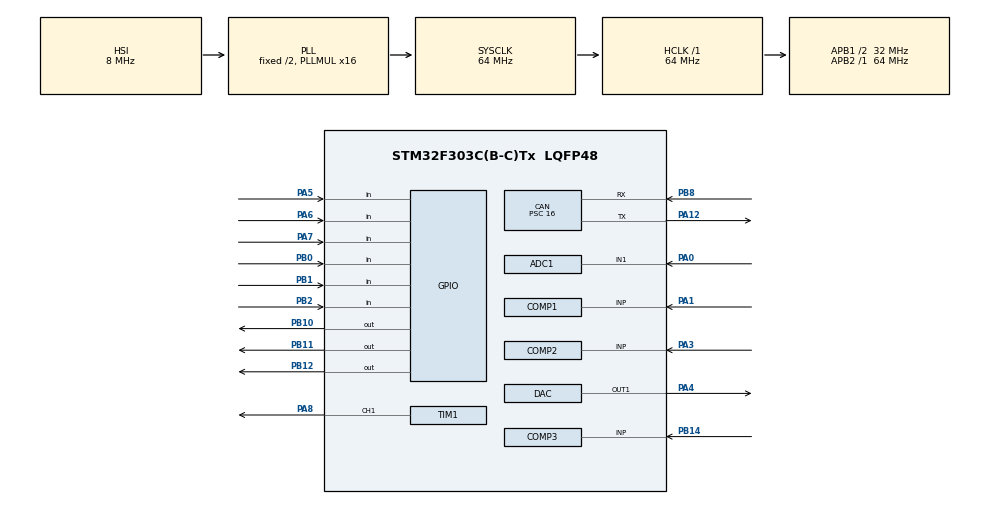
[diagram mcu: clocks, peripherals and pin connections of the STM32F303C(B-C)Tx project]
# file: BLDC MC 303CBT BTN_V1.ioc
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ADC1.Channel-0\#ChannelRegularConversion=ADC_CHANNEL_1
ADC1.ClockPrescaler=ADC_CLOCK_ASYNC_DIV1
ADC1.ContinuousConvMode=DISABLE
ADC1.DMAContinuousRequests=DISABLE
ADC1.DataAlign=ADC_DATAALIGN_RIGHT
ADC1.DiscontinuousConvMode=DISABLE
ADC1.EOCSelection=ADC_EOC_SINGLE_CONV
ADC1.EnableAnalogWatchDog1=false
ADC1.EnableAnalogWatchDog2=false
ADC1.EnableAnalogWatchDog3=false
ADC1.EnableInjectedConversion=ENABLE
ADC1.EnableRegularConversion=ENABLE
ADC1.ExternalTrigConv=ADC_EXTERNALTRIGCONV_T4_CC4
ADC1.ExternalTrigConvEdge=ADC_EXTERNALTRIGCONVEDGE_FALLING
ADC1.InjNumberOfConversion=0
ADC1.LowPowerAutoWait=DISABLE
ADC1.NbrOfConversion=1
ADC1.NbrOfConversionFlag=1
ADC1.Offset-0\#ChannelRegularConversion=0
ADC1.OffsetNumber-0\#ChannelRegularConversion=ADC_OFFSET_NONE
ADC1.Overrun=ADC_OVR_DATA_OVERWRITTEN
ADC1.Rank-0\#ChannelRegularConversion=1
ADC1.Resolution=ADC_RESOLUTION_12B
ADC1.SamplingTime-0\#ChannelRegularConversion=ADC_SAMPLETIME_1CYCLE_5
ADC1.ScanConvMode=ADC_SCAN_DISABLE
ADC1.master=1
CAN.BS1=CAN_BS1_2TQ
CAN.BS2=CAN_BS2_2TQ
CAN.CalculateTimeBit=2500
CAN.CalculateTimeQuantum=500.0
CAN.Prescaler=16
CAN.SJW=CAN_SJW_2TQ
COMP1.BlankingSrce=COMP_BLANKINGSRCE_TIM1OC5
COMP1.InvertingInput=COMP_INVERTINGINPUT_DAC1_CH1
COMP1.TriggerMode=COMP_TRIGGERMODE_IT_RISING_FALLING
COMP2.BlankingSrce=COMP_BLANKINGSRCE_TIM1OC5
COMP2.InvertingInput=COMP_INVERTINGINPUT_DAC1_CH1
COMP2.TriggerMode=COMP_TRIGGERMODE_IT_RISING_FALLING
COMP3.BlankingSrce=COMP_BLANKINGSRCE_TIM1OC5
COMP3.InvertingInput=COMP_INVERTINGINPUT_DAC1_CH1
COMP3.TriggerMode=COMP_TRIGGERMODE_IT_RISING_FALLING
Mcu.Family=STM32F3
Mcu.Name=STM32F303C(B-C)Tx
Mcu.Package=LQFP48
NVIC.ADC1_2_IRQn=true\:0\:0\:false\:false\:true
NVIC.COMP1_2_3_IRQn=true\:0\:0\:false\:false\:true
NVIC.PriorityGroup=NVIC_PRIORITYGROUP_4
NVIC.TIM1_CC_IRQn=true\:0\:0\:false\:false\:true
NVIC.TIM3_IRQn=true\:0\:0\:false\:false\:true
NVIC.USB_LP_CAN_RX0_IRQn=true\:0\:0\:false\:false\:true
PA0.Mode=IN1-Single-Ended
PA0.Signal=ADC1_IN1
PA1.Mode=INP
PA1.Signal=COMP1_INP
PA12.Mode=Master
PA12.Signal=CAN_TX
PA13.Mode=Trace_Asynchronous_SW
PA13.Signal=SYS_JTMS-SWDIO
PA14.Mode=Trace_Asynchronous_SW
PA14.Signal=SYS_JTCK-SWCLK
PA3.Mode=INP
PA3.Signal=COMP2_INP
PA4.Signal=COMP_DAC1_group
PA5.Signal=GPIO_Input
PA6.Signal=GPIO_Input
PA7.Signal=GPIO_Input
PA8.GPIO_PuPd=GPIO_PULLDOWN
PA8.GPIO_Speed=GPIO_SPEED_FREQ_MEDIUM
PA8.Signal=S_TIM1_CH1
PB0.Signal=GPIO_Input
PB1.Signal=GPIO_Input
PB10.Signal=GPIO_Output
PB11.Signal=GPIO_Output
PB12.Signal=GPIO_Output
PB14.Mode=INP
PB14.Signal=COMP3_INP
PB2.Signal=GPIO_Input
PB3.Mode=Trace_Asynchronous_SW
PB3.Signal=SYS_JTDO-TRACESWO
PB8.Mode=Master
PB8.Signal=CAN_RX
ProjectManager.HeapSize=0x200
ProjectManager.StackSize=0x400
ProjectManager.TargetToolchain=TrueSTUDIO
RCC.AHBFreq_Value=64000000
RCC.APB1CLKDivider=RCC_HCLK_DIV2
RCC.APB1Freq_Value=32000000
RCC.APB1TimFreq_Value=64000000
RCC.APB2Freq_Value=64000000
RCC.APB2TimFreq_Value=64000000
RCC.CortexFreq_Value=64000000
RCC.HCLKFreq_Value=64000000
RCC.HSE_VALUE=8000000
RCC.HSI_VALUE=8000000
RCC.I2c1ClockSelection=RCC_I2C1CLKSOURCE_SYSCLK
RCC.LSE_VALUE=32768
RCC.PLLMUL=RCC_PLL_MUL16
RCC.SYSCLKFreq_VALUE=64000000
RCC.SYSCLKSourceVirtual=RCC_SYSCLKSOURCE_PLLCLK
RCC.TIM1Selection=RCC_TIM1CLK_PLLCLK
RCC.USBFreq_Value=64000000
SH.COMP_DAC1_group.0=DAC_OUT1,DAC_OUT1
SH.S_TIM1_CH1.0=TIM1_CH1,PWM Generation1 CH1
TIM1.AutomaticOutput=TIM_AUTOMATICOUTPUT_DISABLE
TIM1.Break2State=TIM_BREAK2_DISABLE
TIM1.BreakState=TIM_BREAK_DISABLE
TIM1.Channel-PWM\ Generation5\ No\ Output=TIM_CHANNEL_5
TIM1.CounterMode=TIM_COUNTERMODE_CENTERALIGNED3
TIM1.LockLevel=TIM_LOCKLEVEL_OFF
TIM1.OCFastMode_PWM-PWM\ Generation1\ CH1=TIM_OCFAST_ENABLE
TIM1.OCIdleState_1=TIM_OCIDLESTATE_SET
TIM1.OCIdleState_5=TIM_OCIDLESTATE_SET
TIM1.OffStateIDLEMode=TIM_OSSI_DISABLE
TIM1.OffStateRunMode=TIM_OSSR_DISABLE
TIM1.Period=1600
TIM1.Prescaler=1
TIM1.Pulse-PWM\ Generation1\ CH1=100
TIM1.Pulse-PWM\ Generation5\ No\ Output=120
TIM3.Channel-Output\ Compare2\ No\ Output=TIM_CHANNEL_2
TIM3.Period=65000
TIM3.Prescaler=1
TIM3.Pulse-Output\ Compare1\ No\ Output=500
TIM3.Pulse-Output\ Compare2\ No\ Output=500
VP_COMP1_VS_DAC1OUT1.Mode=INM_DACOUT1
VP_COMP2_VS_DAC1OUT1.Mode=INM_DACOUT1
VP_COMP3_VS_DAC1OUT1.Mode=INM_DACOUT1
VP_TIM1_VS_no_output5.Mode=PWM Generation5 No Output
VP_TIM3_VS_no_output1.Mode=Output Compare1 No Output
VP_TIM3_VS_no_output2.Mode=Output Compare2 No Output
board=BLDC MC 303CBT BTN_V1

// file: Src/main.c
/**
  ******************************************************************************
  * File Name          : main.c
  * Description        : Main program body
  ******************************************************************************
  *
  * COPYRIGHT(c) 2017 STMicroelectronics
  *
  * Redistribution and use in source and binary forms, with or without modification,
  * are permitted provided that the following conditions are met:
  *   1. Redistributions of source code must retain the above copyright notice,
  *      this list of conditions and the following disclaimer.
  *   2. Redistributions in binary form must reproduce the above copyright notice,
  *      this list of conditions and the following disclaimer in the documentation
  *      and/or other materials provided with the distribution.
  *   3. Neither the name of STMicroelectronics nor the names of its contributors
  *      may be used to endorse or promote products derived from this software
  *      without specific prior written permission.
  *
  * THIS SOFTWARE IS PROVIDED BY THE COPYRIGHT HOLDERS AND CONTRIBUTORS "AS IS"
  * AND ANY EXPRESS OR IMPLIED WARRANTIES, INCLUDING, BUT NOT LIMITED TO, THE
  * IMPLIED WARRANTIES OF MERCHANTABILITY AND FITNESS FOR A PARTICULAR PURPOSE ARE
  * DISCLAIMED. IN NO EVENT SHALL THE COPYRIGHT HOLDER OR CONTRIBUTORS BE LIABLE
  * FOR ANY DIRECT, INDIRECT, INCIDENTAL, SPECIAL, EXEMPLARY, OR CONSEQUENTIAL
  * DAMAGES (INCLUDING, BUT NOT LIMITED TO, PROCUREMENT OF SUBSTITUTE GOODS OR
  * SERVICES; LOSS OF USE, DATA, OR PROFITS; OR BUSINESS INTERRUPTION) HOWEVER
  * CAUSED AND ON ANY THEORY OF LIABILITY, WHETHER IN CONTRACT, STRICT LIABILITY,
  * OR TORT (INCLUDING NEGLIGENCE OR OTHERWISE) ARISING IN ANY WAY OUT OF THE USE
  * OF THIS SOFTWARE, EVEN IF ADVISED OF THE POSSIBILITY OF SUCH DAMAGE.
  *
  ******************************************************************************
  */
#include "main.h"
#include "stm32f3xx_hal.h"

/* USER CODE BEGIN Includes */
#define NEXT 9
#define STEP_0 0
#define STEP_1 1
#define STEP_2 2
#define STEP_3 3
#define STEP_4 4
#define STEP_5 5
#define	I2CRECEIVEDBUFFERSIZE 8
#define COMPDELAY for(uint32_t i = 0; i < 250; i++) //170 with 3S PWM low
#define CANMOTORADDRESS 0x231
/* USER CODE END Includes */

ADC_HandleTypeDef hadc1;

CAN_HandleTypeDef hcan;

COMP_HandleTypeDef hcomp1;
COMP_HandleTypeDef hcomp2;
COMP_HandleTypeDef hcomp3;

DAC_HandleTypeDef hdac;

TIM_HandleTypeDef htim1;
TIM_HandleTypeDef htim3;

/* USER CODE BEGIN PV */
/* Private variables ---------------------------------------------------------*/
volatile int commutationTimerCounter = 2000;
volatile uint16_t commutationTimerCounterArray[6] = { 20000, 20000, 2000, 20000, 20000, 20000 };
volatile uint8_t commutationStepCounter;
volatile uint8_t waitForCommutation = 1;
volatile uint16_t myADCvalue;
volatile uint16_t commutationTimerCounterAverage;
volatile uint16_t counterTIM3Values;
volatile int16_t commutationTimerOffset;

volatile uint8_t rx_bytes_counter;
volatile uint8_t command_ready;
volatile uint8_t data_ready;
volatile uint8_t rx_bytes[10];
volatile uint8_t receiveBuffer[I2CRECEIVEDBUFFERSIZE];
volatile int16_t newPWM = 100;
volatile int16_t setPWM = 100;
volatile int16_t compWindowOffset = 300; //this opens a comparator window to block overshooting signals from triggering (adjust to Vbat)
volatile uint16_t oc5Value = 128;  //preset offset-value (for fine tuning) of the DAC voltage output as the reference voltage for the compartors (about 0V or Vbat/2)
volatile uint8_t pwmState = 0; //indicates whether a zero crossing (pwm low) or a Vbat/2 crossing (pwm high) will be detected; 0 = PWM low detection, 1 = PWM high detection
volatile uint8_t bTransferRequest = 0;
volatile uint8_t motorGotStarted = 0;

static CanRxMsgTypeDef myRxMessage;

TIM_OC_InitTypeDef sConfigOC;
GPIO_InitTypeDef GPIO_InitStructCom;

void commutationPattern(uint8_t step);
void commutateNow_0(void);
void commutateNow_1(void);
void commutateNow_2(void);
void commutateNow_3(void);
void commutateNow_4(void);
void commutateNow_5(void);
void startMotor(void);

/* USER CODE END PV */

void SystemClock_Config(void);
void Error_Handler(void);
static void MX_GPIO_Init(void);
static void MX_ADC1_Init(void);
static void MX_COMP1_Init(void);
static void MX_COMP2_Init(void);
static void MX_COMP3_Init(void);
static void MX_DAC_Init(void);
static void MX_TIM1_Init(void);
static void MX_TIM3_Init(void);
static void MX_CAN_Init(void);

void HAL_TIM_MspPostInit(TIM_HandleTypeDef *htim);

/* USER CODE BEGIN PFP */
/* Private function prototypes -----------------------------------------------*/
void commutationPattern(uint8_t step) {
	//too fast changes of the speed / pwm setting can cause out of sync. so allow only max pwm steps per cycle
//	if (newPWM < (setPWM - 150)) { //used to be 2
//		setPWM -= 50;
//		TIM1->CCR1 = setPWM;
//		TIM1->CCR5 = setPWM + compWindowOffset;
//	} else if (newPWM > (setPWM + 150)) {
//		setPWM += 50;
//		TIM1->CCR1 = setPWM;
//		TIM1->CCR5 = setPWM + compWindowOffset;
//	} else {
//		setPWM = newPWM;
//		TIM1->CCR1 = setPWM;
//		TIM1->CCR5 = setPWM + compWindowOffset;
//	}
	//waitForCommutation means that a comparator event has been detected the commutation can happen after the 30deg delay (timer 3)
	if (step == NEXT && waitForCommutation == 1) {
		if (commutationStepCounter < STEP_5)
			commutationStepCounter++;
		else
			commutationStepCounter = STEP_0;

		switch (commutationStepCounter) {
		case STEP_0:
			commutateNow_0();
			break;
		case STEP_1:
			commutateNow_1();
			break;
		case STEP_2:
			commutateNow_2();
			break;
		case STEP_3:
			commutateNow_3();
			break;
		case STEP_4:
			commutateNow_4();
			break;
		case STEP_5:
			commutateNow_5();
			break;
		}
	} else {
		waitForCommutation = 0;
		switch (step) {
		case STEP_0:
			commutateNow_0();
			break;
		case STEP_1:
			commutateNow_1();
			break;
		case STEP_2:
			commutateNow_2();
			break;
		case STEP_3:
			commutateNow_3();
			break;
		case STEP_4:
			commutateNow_4();
			break;
		case STEP_5:
			commutateNow_5();
			break;
		}
	}
}

void commutateNow_0() {
	HAL_GPIO_WritePin(GPIOB, GPIO_PIN_11, GPIO_PIN_RESET); //set PB11 to 0 to not inhibit phase B; float
	GPIO_InitStructCom.Pin = GPIO_PIN_2;			//set PB2 to output to allow GND on phase C
	GPIO_InitStructCom.Mode = GPIO_MODE_OUTPUT_PP;
	GPIO_InitStructCom.Pull = GPIO_PULLDOWN;
	GPIO_InitStructCom.Speed = GPIO_SPEED_FREQ_LOW;
	HAL_GPIO_Init(GPIOB, &GPIO_InitStructCom);
	HAL_GPIO_WritePin(GPIOB, GPIO_PIN_2, GPIO_PIN_RESET); //set PB2 to 0 to set phase C to GND
	HAL_GPIO_WritePin(GPIOB, GPIO_PIN_12, GPIO_PIN_SET); //set PB12 to 1 to inhibit phase C
	COMPDELAY
	;
	waitForCommutation = 0;
	HAL_COMP_Start_IT(&hcomp2);
}

void commutateNow_1() {
	HAL_GPIO_WritePin(GPIOB, GPIO_PIN_10, GPIO_PIN_RESET); //set PB10 to 0 to not inhibit phase A; float
	GPIO_InitStructCom.Pin = GPIO_PIN_1;			//set PB1 to input to allow PWM on phase B
	GPIO_InitStructCom.Mode = GPIO_MODE_INPUT;
	GPIO_InitStructCom.Pull = GPIO_NOPULL;
	HAL_GPIO_Init(GPIOB, &GPIO_InitStructCom);
	HAL_GPIO_WritePin(GPIOB, GPIO_PIN_11, GPIO_PIN_SET); //set PB11 to 1 to inhibit phase B
	COMPDELAY
	;
	waitForCommutation = 0;
	HAL_COMP_Start_IT(&hcomp1);
}

void commutateNow_2() {
	GPIO_InitStructCom.Pin = GPIO_PIN_0;			//set PB0 to output to allow GND on phase A
	GPIO_InitStructCom.Mode = GPIO_MODE_OUTPUT_PP;
	GPIO_InitStructCom.Pull = GPIO_PULLDOWN;
	GPIO_InitStructCom.Speed = GPIO_SPEED_FREQ_LOW;
	HAL_GPIO_Init(GPIOB, &GPIO_InitStructCom);
	HAL_GPIO_WritePin(GPIOB, GPIO_PIN_0, GPIO_PIN_RESET); //set PB0 to 0 to set phase A to GND
	HAL_GPIO_WritePin(GPIOB, GPIO_PIN_10, GPIO_PIN_SET); //set PB10 to 1 to inhibit phase A
	HAL_GPIO_WritePin(GPIOB, GPIO_PIN_12, GPIO_PIN_RESET); //set PB12 to 0 to not inhibit phase C; float
	COMPDELAY
	;
	waitForCommutation = 0;
	HAL_COMP_Start_IT(&hcomp3);
}

void commutateNow_3() {
	HAL_GPIO_WritePin(GPIOB, GPIO_PIN_11, GPIO_PIN_RESET); //set PB11 to 0 to not inhibit phase B; float
	GPIO_InitStructCom.Pin = GPIO_PIN_2;			//set PB2 to input to allow PWM on phase C
	GPIO_InitStructCom.Mode = GPIO_MODE_INPUT;
	GPIO_InitStructCom.Pull = GPIO_NOPULL;
	HAL_GPIO_Init(GPIOB, &GPIO_InitStructCom);
	HAL_GPIO_WritePin(GPIOB, GPIO_PIN_12, GPIO_PIN_SET); //set PB12 to 1 to inhibit phase C
	COMPDELAY
	;
	waitForCommutation = 0;
	HAL_COMP_Start_IT(&hcomp2);
}

void commutateNow_4() {
	HAL_GPIO_WritePin(GPIOB, GPIO_PIN_10, GPIO_PIN_RESET); //set PB10 to 0 to not inhibit phase A; float
	GPIO_InitStructCom.Pin = GPIO_PIN_1;			//set PB1 to output to allow GND on phase B
	GPIO_InitStructCom.Mode = GPIO_MODE_OUTPUT_PP;
	GPIO_InitStructCom.Pull = GPIO_PULLDOWN;
	GPIO_InitStructCom.Speed = GPIO_SPEED_FREQ_LOW;
	HAL_GPIO_Init(GPIOB, &GPIO_InitStructCom);
	HAL_GPIO_WritePin(GPIOB, GPIO_PIN_1, GPIO_PIN_RESET); //set PB1 to 0 to set phase B to GND
	HAL_GPIO_WritePin(GPIOB, GPIO_PIN_11, GPIO_PIN_SET); //set PB11 to 1 to inhibit phase B
	COMPDELAY
	;
	waitForCommutation = 0;
	HAL_COMP_Start_IT(&hcomp1);
}

void commutateNow_5() {
	GPIO_InitStructCom.Pin = GPIO_PIN_0;			//set PB0 to input to allow PWM on phase A
	GPIO_InitStructCom.Mode = GPIO_MODE_INPUT;
	GPIO_InitStructCom.Pull = GPIO_NOPULL;
	HAL_GPIO_Init(GPIOB, &GPIO_InitStructCom);
	HAL_GPIO_WritePin(GPIOB, GPIO_PIN_10, GPIO_PIN_SET); //set PB10 to 1 to inhibit phase A
	HAL_GPIO_WritePin(GPIOB, GPIO_PIN_12, GPIO_PIN_RESET); //set PB12 to 0 to not inhibit phase C; float
	COMPDELAY
	;
	waitForCommutation = 0;
	HAL_COMP_Start_IT(&hcomp3);
}

/*
The CAN bus receives commands and data from the flight management system:
Typically the protocol looks like e.g. this: #pwm2/lsb msb (8 bytes)
The command parser selects the command and the associated data
*/
void HAL_CAN_RxCpltCallback(CAN_HandleTypeDef *hcan) {
	if ((hcan->pRxMsg->StdId == CANMOTORADDRESS) && (hcan->pRxMsg->IDE == CAN_ID_STD) && (hcan->pRxMsg->DLC == 8)) {
		rx_bytes[0] = hcan->pRxMsg->Data[0];
		rx_bytes[1] = hcan->pRxMsg->Data[1];
		rx_bytes[2] = hcan->pRxMsg->Data[2];
		rx_bytes[3] = hcan->pRxMsg->Data[3];
		rx_bytes[4] = hcan->pRxMsg->Data[4];
		rx_bytes[5] = hcan->pRxMsg->Data[5];
		rx_bytes[6] = hcan->pRxMsg->Data[6];
		rx_bytes[7] = hcan->pRxMsg->Data[7];

		rx_bytes_counter = 0;

		for (uint8_t i = 0; i < I2CRECEIVEDBUFFERSIZE; i++) {
			//rx_bytes[rx_bytes_counter] = receiveBuffer[rx_bytes_counter];
			rx_bytes_counter++;

			if (rx_bytes[rx_bytes_counter - 1] == '#') {
				rx_bytes_counter = 1;
				command_ready = 0;
				data_ready = 0;
			}

			if (command_ready == 1) {
				if ((rx_bytes[4] == '1') && (rx_bytes_counter == 7))
					data_ready = 1;
				if ((rx_bytes[4] == '2') && (rx_bytes_counter == 8))
					data_ready = 1;
			}

			if (rx_bytes[rx_bytes_counter - 1] == '/')
				command_ready = 1;

			if (data_ready == 1) {
				if ((rx_bytes[1] == 'p') && (rx_bytes[2] == 'w') && (rx_bytes[3] == 'm')) {  //speed
					if (motorGotStarted == 2) {
						newPWM = (rx_bytes[6] + rx_bytes[7] * 256) / 16;
						//TIM1->CCR5 = newPWM + compWindowOffset;  //what if we set the power here?
						setPWM = newPWM;
						TIM1->CCR1 = setPWM;
						TIM1->CCR5 = setPWM + compWindowOffset;
					}
					command_ready = 0;
					data_ready = 0;
					rx_bytes_counter = 0;
				}

				if ((rx_bytes[1] == 'o') && (rx_bytes[2] == 'c') && (rx_bytes[3] == 'o')) {  //adjust oc5value
					oc5Value = rx_bytes[6] * 1;
					command_ready = 0;
					data_ready = 0;
					rx_bytes_counter = 0;
				}

				if ((rx_bytes[1] == 's') && (rx_bytes[2] == 't') && (rx_bytes[3] == 'a')) {  //start the motor
					//newPWM = setPWM = 100;
					motorGotStarted = 1;
					command_ready = 0;
					data_ready = 0;
					rx_bytes_counter = 0;
				}

				if ((rx_bytes[1] == 's') && (rx_bytes[2] == 't') && (rx_bytes[3] == 'o')) {  //stop the motor
					newPWM = setPWM = 0;
					TIM1->CCR1 = setPWM;
					TIM1->CCR5 = setPWM + compWindowOffset;
					motorGotStarted = 0;
					command_ready = 0;
					data_ready = 0;
					rx_bytes_counter = 0;
				}
			}
		}
	}
	__HAL_CAN_ENABLE_IT(hcan, CAN_IT_FMP0);

	/* Receive */
	if (HAL_CAN_Receive_IT(hcan, CAN_FIFO0) != HAL_OK) {
		/* Reception Error */
		Error_Handler();
	}
}

void CAN_Config(void) {
	CAN_FilterConfTypeDef sFilterConfig;

	//#### Configure the CAN Filter ###########################################*/
	sFilterConfig.FilterNumber = 0;
	sFilterConfig.FilterMode = CAN_FILTERMODE_IDMASK;
	sFilterConfig.FilterScale = CAN_FILTERSCALE_32BIT;
	sFilterConfig.FilterIdHigh = 0x0000;
	sFilterConfig.FilterIdLow = CANMOTORADDRESS;
	sFilterConfig.FilterMaskIdHigh = 0x0000;
	sFilterConfig.FilterMaskIdLow = 0x0000;
	sFilterConfig.FilterFIFOAssignment = 0;
	sFilterConfig.FilterActivation = ENABLE;
	sFilterConfig.BankNumber = 14;

	if (HAL_CAN_ConfigFilter(&hcan, &sFilterConfig) != HAL_OK) {
		/* Filter configuration Error */
		Error_Handler();
	}
}

/*
This forces the motor to turn; adjust to your own start up procedure (needs some patience ;-)).
Not the coolest way to do this. Suggestions?
*/
void startMotor(void) {
	newPWM = setPWM = 250;
	compWindowOffset = 300;
	TIM1->CCR1 = setPWM;
	TIM1->CCR5 = setPWM + compWindowOffset;

	commutateNow_0();
	HAL_Delay(150);
	commutationStepCounter = STEP_0;
	waitForCommutation = 1;

	for (uint16_t i = 0; i < 1; i++) {
		commutationPattern(NEXT);
		waitForCommutation = 1;
		HAL_Delay(150);
	}
	HAL_Delay(150);
	motorGotStarted = 2;

}

/* USER CODE END PFP */

int main(void)
{

  /* MCU Configuration----------------------------------------------------------*/

  /* Reset of all peripherals, Initializes the Flash interface and the Systick. */
  HAL_Init();

  /* Configure the system clock */
  SystemClock_Config();

  /* Initialize all configured peripherals */
  MX_GPIO_Init();
  MX_ADC1_Init();
  MX_COMP1_Init();
  MX_COMP2_Init();
  MX_COMP3_Init();
  MX_DAC_Init();
  MX_TIM1_Init();
  MX_TIM3_Init();
  MX_CAN_Init();

  /* USER CODE BEGIN 2 */
	HAL_TIM_PWM_Start(&htim1, TIM_CHANNEL_1);  //does not to be IT
	HAL_TIM_PWM_Start(&htim1, TIM_CHANNEL_5);
	HAL_TIM_OC_Start_IT(&htim3, TIM_CHANNEL_1);
	HAL_DAC_Start(&hdac, DAC_CHANNEL_1);
	HAL_DAC_SetValue(&hdac, DAC_CHANNEL_1, DAC_ALIGN_12B_R, 0); //4095 would be max. (3.3 V)
	newPWM = setPWM = TIM1->CCR1 = TIM1->CCR5 = 0;
	CAN_Config();
	hcan.pRxMsg = &myRxMessage;
	HAL_CAN_Receive_IT(&hcan, CAN_FIFO0);
	motorGotStarted = 0;
  /* USER CODE END 2 */

  /* Infinite loop */
	while (1) {

  /* USER CODE BEGIN 3 */
		if (motorGotStarted == 1) {
			startMotor();
		}
	}
  /* USER CODE END 3 */

}

/** System Clock Configuration
*/
void SystemClock_Config(void)
{

  RCC_OscInitTypeDef RCC_OscInitStruct;
  RCC_ClkInitTypeDef RCC_ClkInitStruct;
  RCC_PeriphCLKInitTypeDef PeriphClkInit;

    /**Initializes the CPU, AHB and APB busses clocks
    */
  RCC_OscInitStruct.OscillatorType = RCC_OSCILLATORTYPE_HSI;
  RCC_OscInitStruct.HSIState = RCC_HSI_ON;
  RCC_OscInitStruct.HSICalibrationValue = 16;
  RCC_OscInitStruct.PLL.PLLState = RCC_PLL_ON;
  RCC_OscInitStruct.PLL.PLLSource = RCC_PLLSOURCE_HSI;
  RCC_OscInitStruct.PLL.PLLMUL = RCC_PLL_MUL16;
  if (HAL_RCC_OscConfig(&RCC_OscInitStruct) != HAL_OK)
  {
    Error_Handler();
  }

    /**Initializes the CPU, AHB and APB busses clocks
    */
  RCC_ClkInitStruct.ClockType = RCC_CLOCKTYPE_HCLK|RCC_CLOCKTYPE_SYSCLK
                              |RCC_CLOCKTYPE_PCLK1|RCC_CLOCKTYPE_PCLK2;
  RCC_ClkInitStruct.SYSCLKSource = RCC_SYSCLKSOURCE_PLLCLK;
  RCC_ClkInitStruct.AHBCLKDivider = RCC_SYSCLK_DIV1;
  RCC_ClkInitStruct.APB1CLKDivider = RCC_HCLK_DIV2;
  RCC_ClkInitStruct.APB2CLKDivider = RCC_HCLK_DIV1;

  if (HAL_RCC_ClockConfig(&RCC_ClkInitStruct, FLASH_LATENCY_2) != HAL_OK)
  {
    Error_Handler();
  }

  PeriphClkInit.PeriphClockSelection = RCC_PERIPHCLK_TIM1|RCC_PERIPHCLK_ADC12;
  PeriphClkInit.Adc12ClockSelection = RCC_ADC12PLLCLK_DIV1;
  PeriphClkInit.Tim1ClockSelection = RCC_TIM1CLK_PLLCLK;
  if (HAL_RCCEx_PeriphCLKConfig(&PeriphClkInit) != HAL_OK)
  {
    Error_Handler();
  }

    /**Configure the Systick interrupt time
    */
  HAL_SYSTICK_Config(HAL_RCC_GetHCLKFreq()/1000);

    /**Configure the Systick
    */
  HAL_SYSTICK_CLKSourceConfig(SYSTICK_CLKSOURCE_HCLK);

  /* SysTick_IRQn interrupt configuration */
  HAL_NVIC_SetPriority(SysTick_IRQn, 0, 0);
}

/* ADC1 init function */
static void MX_ADC1_Init(void)
{

  ADC_MultiModeTypeDef multimode;
  ADC_ChannelConfTypeDef sConfig;

    /**Common config
    */
  hadc1.Instance = ADC1;
  hadc1.Init.ClockPrescaler = ADC_CLOCK_ASYNC_DIV1;
  hadc1.Init.Resolution = ADC_RESOLUTION_12B;
  hadc1.Init.ScanConvMode = ADC_SCAN_DISABLE;
  hadc1.Init.ContinuousConvMode = DISABLE;
  hadc1.Init.DiscontinuousConvMode = DISABLE;
  hadc1.Init.ExternalTrigConvEdge = ADC_EXTERNALTRIGCONVEDGE_FALLING;
  hadc1.Init.ExternalTrigConv = ADC_EXTERNALTRIGCONV_T4_CC4;
  hadc1.Init.DataAlign = ADC_DATAALIGN_RIGHT;
  hadc1.Init.NbrOfConversion = 1;
  hadc1.Init.DMAContinuousRequests = DISABLE;
  hadc1.Init.EOCSelection = ADC_EOC_SINGLE_CONV;
  hadc1.Init.LowPowerAutoWait = DISABLE;
  hadc1.Init.Overrun = ADC_OVR_DATA_OVERWRITTEN;
  if (HAL_ADC_Init(&hadc1) != HAL_OK)
  {
    Error_Handler();
  }

    /**Configure the ADC multi-mode
    */
  multimode.DMAAccessMode = ADC_DMAACCESSMODE_DISABLED;
  multimode.TwoSamplingDelay = ADC_TWOSAMPLINGDELAY_1CYCLE;
  if (HAL_ADCEx_MultiModeConfigChannel(&hadc1, &multimode) != HAL_OK)
  {
    Error_Handler();
  }

    /**Configure Regular Channel
    */
  sConfig.Channel = ADC_CHANNEL_1;
  sConfig.Rank = 1;
  sConfig.SingleDiff = ADC_SINGLE_ENDED;
  sConfig.SamplingTime = ADC_SAMPLETIME_1CYCLE_5;
  sConfig.OffsetNumber = ADC_OFFSET_NONE;
  sConfig.Offset = 0;
  if (HAL_ADC_ConfigChannel(&hadc1, &sConfig) != HAL_OK)
  {
    Error_Handler();
  }

}

/* CAN init function */
static void MX_CAN_Init(void)
{

  hcan.Instance = CAN;
  hcan.Init.Prescaler = 16;
  hcan.Init.Mode = CAN_MODE_NORMAL;
  hcan.Init.SJW = CAN_SJW_2TQ;
  hcan.Init.BS1 = CAN_BS1_2TQ;
  hcan.Init.BS2 = CAN_BS2_2TQ;
  hcan.Init.TTCM = DISABLE;
  hcan.Init.ABOM = DISABLE;
  hcan.Init.AWUM = DISABLE;
  hcan.Init.NART = DISABLE;
  hcan.Init.RFLM = DISABLE;
  hcan.Init.TXFP = DISABLE;
  if (HAL_CAN_Init(&hcan) != HAL_OK)
  {
    Error_Handler();
  }

}

/* COMP1 init function */
static void MX_COMP1_Init(void)
{

  hcomp1.Instance = COMP1;
  hcomp1.Init.InvertingInput = COMP_INVERTINGINPUT_DAC1_CH1;
  hcomp1.Init.NonInvertingInput = COMP_NONINVERTINGINPUT_IO1;
  hcomp1.Init.Output = COMP_OUTPUT_NONE;
  hcomp1.Init.OutputPol = COMP_OUTPUTPOL_NONINVERTED;
  hcomp1.Init.Hysteresis = COMP_HYSTERESIS_NONE;
  hcomp1.Init.BlankingSrce = COMP_BLANKINGSRCE_TIM1OC5;
  hcomp1.Init.Mode = COMP_MODE_HIGHSPEED;
  hcomp1.Init.WindowMode = COMP_WINDOWMODE_DISABLE;
  hcomp1.Init.TriggerMode = COMP_TRIGGERMODE_IT_RISING_FALLING;
  if (HAL_COMP_Init(&hcomp1) != HAL_OK)
  {
    Error_Handler();
  }

}

/* COMP2 init function */
static void MX_COMP2_Init(void)
{

  hcomp2.Instance = COMP2;
  hcomp2.Init.InvertingInput = COMP_INVERTINGINPUT_DAC1_CH1;
  hcomp2.Init.NonInvertingInput = COMP_NONINVERTINGINPUT_IO2;
  hcomp2.Init.Output = COMP_OUTPUT_NONE;
  hcomp2.Init.OutputPol = COMP_OUTPUTPOL_NONINVERTED;
  hcomp2.Init.Hysteresis = COMP_HYSTERESIS_NONE;
  hcomp2.Init.BlankingSrce = COMP_BLANKINGSRCE_TIM1OC5;
  hcomp2.Init.Mode = COMP_MODE_HIGHSPEED;
  hcomp2.Init.WindowMode = COMP_WINDOWMODE_DISABLE;
  hcomp2.Init.TriggerMode = COMP_TRIGGERMODE_IT_RISING_FALLING;
  if (HAL_COMP_Init(&hcomp2) != HAL_OK)
  {
    Error_Handler();
  }

}

/* COMP3 init function */
static void MX_COMP3_Init(void)
{

  hcomp3.Instance = COMP3;
  hcomp3.Init.InvertingInput = COMP_INVERTINGINPUT_DAC1_CH1;
  hcomp3.Init.NonInvertingInput = COMP_NONINVERTINGINPUT_IO1;
  hcomp3.Init.Output = COMP_OUTPUT_NONE;
  hcomp3.Init.OutputPol = COMP_OUTPUTPOL_NONINVERTED;
  hcomp3.Init.Hysteresis = COMP_HYSTERESIS_NONE;
  hcomp3.Init.BlankingSrce = COMP_BLANKINGSRCE_TIM1OC5;
  hcomp3.Init.Mode = COMP_MODE_HIGHSPEED;
  hcomp3.Init.WindowMode = COMP_WINDOWMODE_DISABLE;
  hcomp3.Init.TriggerMode = COMP_TRIGGERMODE_IT_RISING_FALLING;
  if (HAL_COMP_Init(&hcomp3) != HAL_OK)
  {
    Error_Handler();
  }

}

/* DAC init function */
static void MX_DAC_Init(void)
{

  DAC_ChannelConfTypeDef sConfig;

    /**DAC Initialization
    */
  hdac.Instance = DAC;
  if (HAL_DAC_Init(&hdac) != HAL_OK)
  {
    Error_Handler();
  }

    /**DAC channel OUT1 config
    */
  sConfig.DAC_Trigger = DAC_TRIGGER_NONE;
  sConfig.DAC_OutputBuffer = DAC_OUTPUTBUFFER_ENABLE;
  if (HAL_DAC_ConfigChannel(&hdac, &sConfig, DAC_CHANNEL_1) != HAL_OK)
  {
    Error_Handler();
  }

}

/* TIM1 init function */
static void MX_TIM1_Init(void)
{

  TIM_MasterConfigTypeDef sMasterConfig;
  TIM_OC_InitTypeDef sConfigOC;
  TIM_BreakDeadTimeConfigTypeDef sBreakDeadTimeConfig;

  htim1.Instance = TIM1;
  htim1.Init.Prescaler = 1;
  htim1.Init.CounterMode = TIM_COUNTERMODE_CENTERALIGNED3;
  htim1.Init.Period = 1600;
  htim1.Init.ClockDivision = TIM_CLOCKDIVISION_DIV1;
  htim1.Init.RepetitionCounter = 0;
  htim1.Init.AutoReloadPreload = TIM_AUTORELOAD_PRELOAD_DISABLE;
  if (HAL_TIM_PWM_Init(&htim1) != HAL_OK)
  {
    Error_Handler();
  }

  sMasterConfig.MasterOutputTrigger = TIM_TRGO_RESET;
  sMasterConfig.MasterOutputTrigger2 = TIM_TRGO2_RESET;
  sMasterConfig.MasterSlaveMode = TIM_MASTERSLAVEMODE_DISABLE;
  if (HAL_TIMEx_MasterConfigSynchronization(&htim1, &sMasterConfig) != HAL_OK)
  {
    Error_Handler();
  }

  sConfigOC.OCMode = TIM_OCMODE_PWM1;
  sConfigOC.Pulse = 100;
  sConfigOC.OCPolarity = TIM_OCPOLARITY_HIGH;
  sConfigOC.OCNPolarity = TIM_OCNPOLARITY_HIGH;
  sConfigOC.OCFastMode = TIM_OCFAST_ENABLE;
  sConfigOC.OCIdleState = TIM_OCIDLESTATE_SET;
  sConfigOC.OCNIdleState = TIM_OCNIDLESTATE_RESET;
  if (HAL_TIM_PWM_ConfigChannel(&htim1, &sConfigOC, TIM_CHANNEL_1) != HAL_OK)
  {
    Error_Handler();
  }

  sConfigOC.Pulse = 120;
  sConfigOC.OCFastMode = TIM_OCFAST_DISABLE;
  if (HAL_TIM_PWM_ConfigChannel(&htim1, &sConfigOC, TIM_CHANNEL_5) != HAL_OK)
  {
    Error_Handler();
  }

  sBreakDeadTimeConfig.OffStateRunMode = TIM_OSSR_DISABLE;
  sBreakDeadTimeConfig.OffStateIDLEMode = TIM_OSSI_DISABLE;
  sBreakDeadTimeConfig.LockLevel = TIM_LOCKLEVEL_OFF;
  sBreakDeadTimeConfig.DeadTime = 0;
  sBreakDeadTimeConfig.BreakState = TIM_BREAK_DISABLE;
  sBreakDeadTimeConfig.BreakPolarity = TIM_BREAKPOLARITY_HIGH;
  sBreakDeadTimeConfig.BreakFilter = 0;
  sBreakDeadTimeConfig.Break2State = TIM_BREAK2_DISABLE;
  sBreakDeadTimeConfig.Break2Polarity = TIM_BREAK2POLARITY_HIGH;
  sBreakDeadTimeConfig.Break2Filter = 0;
  sBreakDeadTimeConfig.AutomaticOutput = TIM_AUTOMATICOUTPUT_DISABLE;
  if (HAL_TIMEx_ConfigBreakDeadTime(&htim1, &sBreakDeadTimeConfig) != HAL_OK)
  {
    Error_Handler();
  }

  HAL_TIM_MspPostInit(&htim1);

}

/* TIM3 init function */
static void MX_TIM3_Init(void)
{

  TIM_MasterConfigTypeDef sMasterConfig;
  TIM_OC_InitTypeDef sConfigOC;

  htim3.Instance = TIM3;
  htim3.Init.Prescaler = 1;
  htim3.Init.CounterMode = TIM_COUNTERMODE_UP;
  htim3.Init.Period = 65000;
  htim3.Init.ClockDivision = TIM_CLOCKDIVISION_DIV1;
  htim3.Init.AutoReloadPreload = TIM_AUTORELOAD_PRELOAD_DISABLE;
  if (HAL_TIM_OC_Init(&htim3) != HAL_OK)
  {
    Error_Handler();
  }

  sMasterConfig.MasterOutputTrigger = TIM_TRGO_RESET;
  sMasterConfig.MasterSlaveMode = TIM_MASTERSLAVEMODE_DISABLE;
  if (HAL_TIMEx_MasterConfigSynchronization(&htim3, &sMasterConfig) != HAL_OK)
  {
    Error_Handler();
  }

  sConfigOC.OCMode = TIM_OCMODE_TIMING;
  sConfigOC.Pulse = 500;
  sConfigOC.OCPolarity = TIM_OCPOLARITY_HIGH;
  sConfigOC.OCFastMode = TIM_OCFAST_DISABLE;
  if (HAL_TIM_OC_ConfigChannel(&htim3, &sConfigOC, TIM_CHANNEL_1) != HAL_OK)
  {
    Error_Handler();
  }

  if (HAL_TIM_OC_ConfigChannel(&htim3, &sConfigOC, TIM_CHANNEL_2) != HAL_OK)
  {
    Error_Handler();
  }

}

/** Configure pins as
        * Analog
        * Input
        * Output
        * EVENT_OUT
        * EXTI
*/
static void MX_GPIO_Init(void)
{

  GPIO_InitTypeDef GPIO_InitStruct;

  /* GPIO Ports Clock Enable */
  __HAL_RCC_GPIOA_CLK_ENABLE();
  __HAL_RCC_GPIOB_CLK_ENABLE();

  /*Configure GPIO pin Output Level */
  HAL_GPIO_WritePin(GPIOB, GPIO_PIN_10|GPIO_PIN_11|GPIO_PIN_12, GPIO_PIN_RESET);

  /*Configure GPIO pins : PA5 PA6 PA7 */
  GPIO_InitStruct.Pin = GPIO_PIN_5|GPIO_PIN_6|GPIO_PIN_7;
  GPIO_InitStruct.Mode = GPIO_MODE_INPUT;
  GPIO_InitStruct.Pull = GPIO_NOPULL;
  HAL_GPIO_Init(GPIOA, &GPIO_InitStruct);

  /*Configure GPIO pins : PB0 PB1 PB2 */
  GPIO_InitStruct.Pin = GPIO_PIN_0|GPIO_PIN_1|GPIO_PIN_2;
  GPIO_InitStruct.Mode = GPIO_MODE_INPUT;
  GPIO_InitStruct.Pull = GPIO_NOPULL;
  HAL_GPIO_Init(GPIOB, &GPIO_InitStruct);

  /*Configure GPIO pins : PB10 PB11 PB12 */
  GPIO_InitStruct.Pin = GPIO_PIN_10|GPIO_PIN_11|GPIO_PIN_12;
  GPIO_InitStruct.Mode = GPIO_MODE_OUTPUT_PP;
  GPIO_InitStruct.Pull = GPIO_NOPULL;
  GPIO_InitStruct.Speed = GPIO_SPEED_FREQ_LOW;
  HAL_GPIO_Init(GPIOB, &GPIO_InitStruct);

}

void Error_Handler(void)
{
	while (1) {
	}
}

/************************ (C) COPYRIGHT STMicroelectronics *****END OF FILE****/
